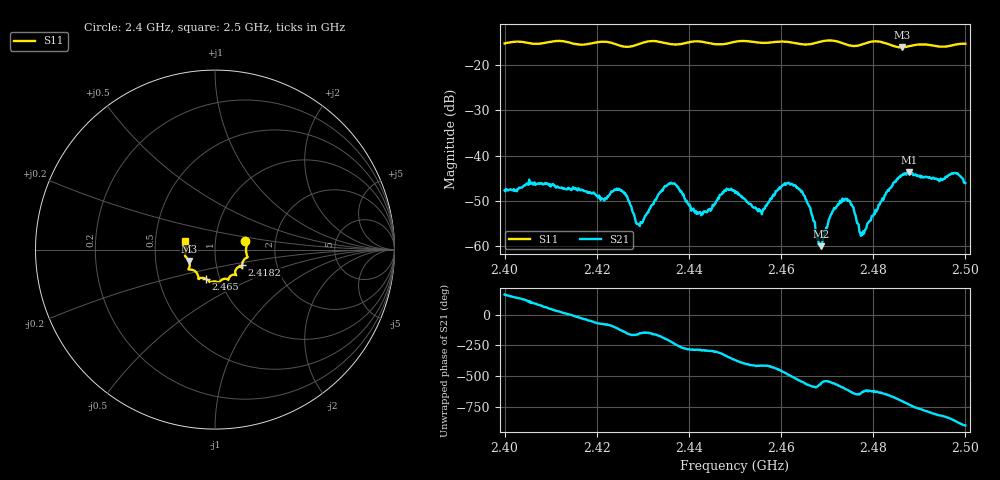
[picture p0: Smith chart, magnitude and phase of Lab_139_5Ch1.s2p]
# Hz S RI R 50
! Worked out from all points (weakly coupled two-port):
!   601 points, 2.4 GHz to 2.5 GHz, reference 50 ohm
!   highest |S21| = -43.72 dB at 2.4878 GHz (marker M1); lowest = -60.1 dB at 2.4687 GHz (marker M2)
!   lowest |S11| = -16.0 dB at 2.4862 GHz (marker M3), VSWR 1.37, Z = 37.1 - j4.82 ohm
!   |S11| at or under -10 dB: start of sweep to end of sweep
!   S12 and S22 are empty: the file has one direction only
!   S11 on the Smith chart (normalised r, x): 2.4 GHz: 1.40, +0.13; 2.4182 GHz: 1.33, -0.23; 2.465 GHz: 0.86, -0.29; 2.5 GHz: 0.71, +0.07
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2.4e9  0.1689 0.046  -0.00398 0.00105  0 0  0 0
2.416667e9  0.1548 -0.0681  0.00367 -0.00204  0 0  0 0
2.418167e9  0.15 -0.085  0.00273 -0.00279  0 0  0 0
2.421333e9  0.1524 -0.1003  0.000794 -0.0032  0 0  0 0
2.425333e9  0.1309 -0.0978  -0.00247 -0.00333  0 0  0 0
2.429167e9  0.1122 -0.1303  -0.00157 -0.000707  0 0  0 0
2.433333e9  0.1167 -0.1412  -0.00362 -0.000716  0 0  0 0
2.436667e9  0.0931 -0.1427  -0.00293 0.00394  0 0  0 0
2.4425e9  0.0728 -0.1682  0.000602 0.00229  0 0  0 0
2.45e9  0.0252 -0.1806  0.00381 -0.000657  0 0  0 0
2.4555e9  0.00333 -0.1779  0.00138 -0.00204  0 0  0 0
2.461167e9  -0.0307 -0.1798  -0.00244 -0.00419  0 0  0 0
2.465e9  -0.0528 -0.1619  -0.00349 0.000929  0 0  0 0
2.466667e9  -0.0713 -0.1576  -0.00156 0.00157  0 0  0 0
2.468667e9  -0.0881 -0.161  -0.000925 0.000356  0 0  0 0
2.472833e9  -0.0923 -0.154  -0.00221 0.00228  0 0  0 0
2.475167e9  -0.1031 -0.1285  9.19e-05 0.00285  0 0  0 0
2.477667e9  -0.1295 -0.1118  5.11e-05 0.00133  0 0  0 0
2.483333e9  -0.142 -0.0957  0.00194 0.00357  0 0  0 0
2.486167e9  -0.1445 -0.0634  0.0058 0.00162  0 0  0 0
2.487833e9  -0.1558 -0.0479  0.00631 -0.00163  0 0  0 0
2.5e9  -0.1671 0.0473  -0.00495 0.000403  0 0  0 0
